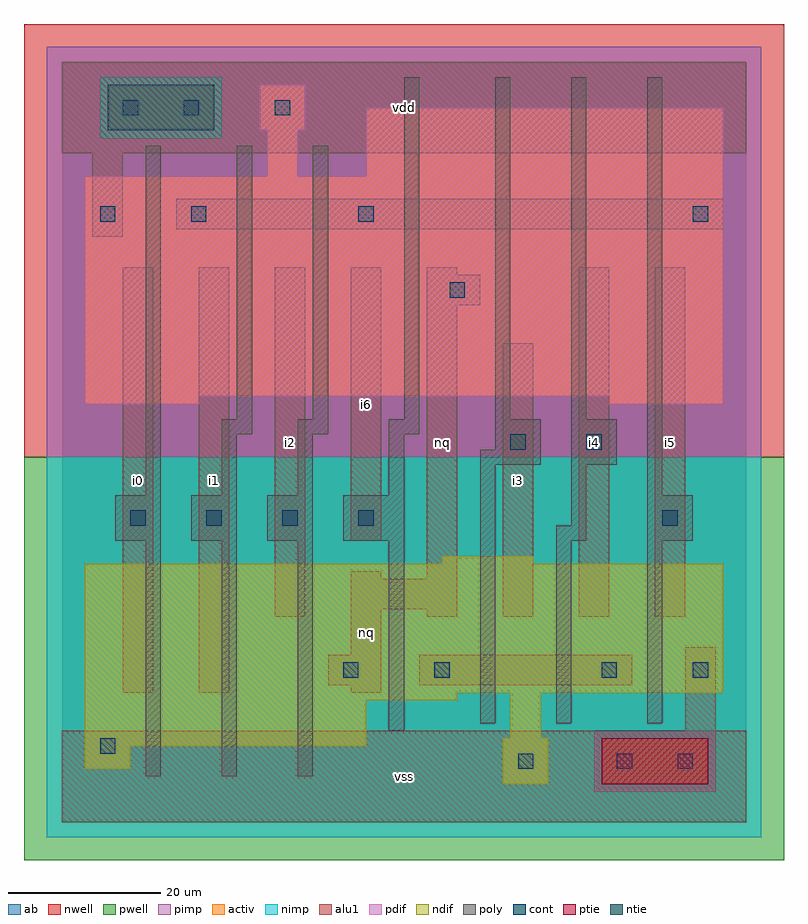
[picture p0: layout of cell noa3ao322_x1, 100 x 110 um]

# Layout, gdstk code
import gdstk
lib = gdstk.Library(unit=1e-6, precision=1e-09)
def R(c, l, rs):  # rectangles x0, y0, x1, y1
    for r in rs: c.add(gdstk.rectangle(r[:2], r[2:], *l))
def A(c, l, x, y, w, h, nx, ny, dx, dy):  # array of equal rectangles
    R(c, l, [(x+i*dx, y+j*dy, x+i*dx+w, y+j*dy+h) for i in range(nx) for j in range(ny)])
ndif = (3, 0)
pdif = (4, 0)
ntie = (5, 0)
ptie = (6, 0)
cont = (25, 0)
pwell = (41, 0)
nwell = (42, 0)
activ = (43, 0)
pimp = (44, 0)
nimp = (45, 0)
poly = (46, 0)
alu1 = (49, 0)
ab = (63, 0)

noa3ao322_x1 = lib.new_cell('noa3ao322_x1')
R(noa3ao322_x1, ndif, [(58,5,64,11), (3,7,9,10), (3,10,40,16), (59,11,63,17), (3,16,52,17), (3,17,87,34), (50,34,62,35)])
R(noa3ao322_x1, pdif, [(3,55,18,56), (72,55,87,56), (3,56,87,85), (27,85,31,91), (40,85,87,94), (26,91,32,97)])
R(noa3ao322_x1, ntie, [(6,91,20,97)])
R(noa3ao322_x1, ptie, [(71,5,85,11)])
A(noa3ao322_x1, cont, 9, 39, 2, 2, 4, 1, 10, 0)
R(noa3ao322_x1, cont, [(60,7,62,9), (73,7,75,9), (81,7,83,9), (5,9,7,11), (37,19,39,21), (49,19,51,21), (71,19,73,21), (83,19,85,21), (79,39,81,41), (59,49,61,51), (69,49,71,51), (51,69,53,71), (5,79,7,81), (17,79,19,81), (39,79,41,81), (83,79,85,81), (8,93,10,95), (16,93,18,95), (28,93,30,95)])
R(noa3ao322_x1, pwell, [(-5,-5,95,48)])
R(noa3ao322_x1, nwell, [(-5,48,95,105)])
R(noa3ao322_x1, activ, [(58,5,64,11), (71,5,85,11), (3,7,9,10), (3,10,40,16), (59,11,63,17), (3,16,52,17), (3,17,87,34), (50,34,62,35), (3,55,18,56), (72,55,87,56), (3,56,87,85), (27,85,31,91), (40,85,87,94), (6,91,20,97), (26,91,32,97)])
R(noa3ao322_x1, pimp, [(70,4,86,12), (-2,48,92,90), (-2,90,5,98), (21,90,92,98), (-2,98,92,102)])
R(noa3ao322_x1, nimp, [(-2,-2,92,4), (-2,4,70,12), (86,4,92,12), (-2,12,92,48), (5,90,21,98)])
A(noa3ao322_x1, poly, 11, 6, 2, 31, 3, 1, 10, 0)
A(noa3ao322_x1, poly, 7, 37, 6, 6, 3, 1, 10, 0)
R(noa3ao322_x1, poly, [(43,12,45,37), (55,13,57,47), (65,13,67,37), (77,13,79,37), (37,37,45,43), (65,37,69,39), (77,37,83,43), (67,39,69,47), (11,43,13,89), (21,43,23,51), (31,43,33,51), (43,43,45,51), (77,43,79,98), (55,47,63,49), (67,47,73,53), (57,49,63,53), (21,51,25,53), (31,51,35,53), (43,51,47,53), (23,53,25,89), (33,53,35,89), (45,53,47,98), (57,53,59,98), (67,53,69,98)])
R(noa3ao322_x1, alu1, [(0,0,90,12), (82,12,86,23), (8,17,12,73), (18,17,22,73), (38,17,42,18), (35,18,42,22), (47,18,75,22), (38,22,42,28), (28,27,32,73), (48,27,52,28), (58,27,62,63), (68,27,72,73), (78,27,82,73), (38,28,52,32), (38,32,42,33), (48,32,52,68), (38,37,42,73), (48,68,55,72), (48,72,52,73), (4,77,8,88), (15,78,87,82), (0,88,90,100)])
R(noa3ao322_x1, ab, [(0,0,90,100)])
noa3ao322_x1.add(gdstk.Label('i0', (10,45), layer=49, texttype=0))
noa3ao322_x1.add(gdstk.Label('nq', (40,25), layer=49, texttype=0))
noa3ao322_x1.add(gdstk.Label('i1', (20,45), layer=49, texttype=0))
noa3ao322_x1.add(gdstk.Label('i2', (30,50), layer=49, texttype=0))
noa3ao322_x1.add(gdstk.Label('i6', (40,55), layer=49, texttype=0))
noa3ao322_x1.add(gdstk.Label('vss', (45,6), layer=49, texttype=0))
noa3ao322_x1.add(gdstk.Label('i3', (60,45), layer=49, texttype=0))
noa3ao322_x1.add(gdstk.Label('nq', (50,50), layer=49, texttype=0))
noa3ao322_x1.add(gdstk.Label('vdd', (45,94), layer=49, texttype=0))
noa3ao322_x1.add(gdstk.Label('i5', (80,50), layer=49, texttype=0))
noa3ao322_x1.add(gdstk.Label('i4', (70,50), layer=49, texttype=0))

lib.write_gds('noa3ao322_x1.gds')
